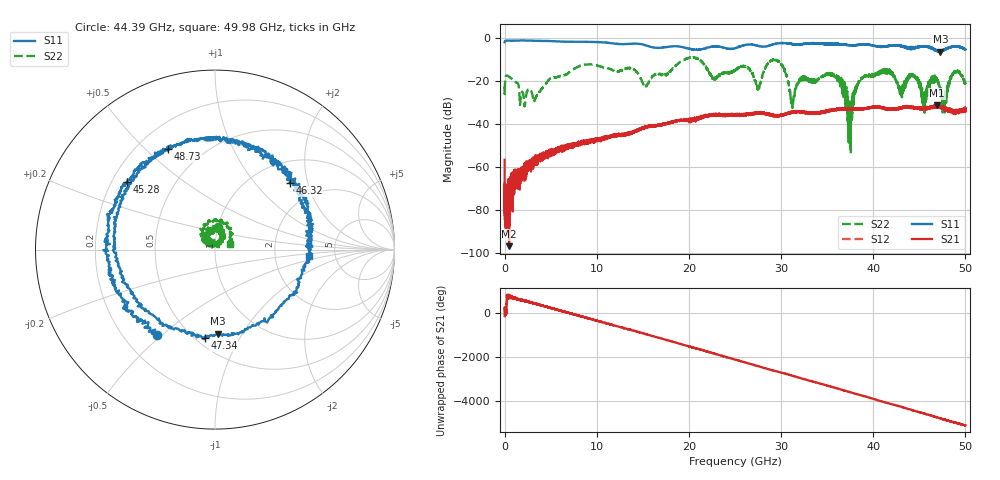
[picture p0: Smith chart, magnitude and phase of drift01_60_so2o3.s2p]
!Created with skrf (http://scikit-rf.org).
# Hz S RI R 50.0
!freq ReS11 ImS11 ReS21 ImS21 ReS12 ImS12 ReS22 ImS22
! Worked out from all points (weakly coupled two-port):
!   10001 points, 300 kHz to 50 GHz, reference 50 ohm
!   highest |S21| = -31.45 dB at 46.92 GHz (marker M1); lowest = -96.9 dB at 485.3 MHz (marker M2)
!   lowest |S11| = -6.6 dB at 47.28 GHz (marker M3), VSWR 2.77, Z = 32.8 - j39.4 ohm
!   |S11| at or under -10 dB: nowhere
!   |S22| runs from -53.9 to -9.2 dB; largest |S21 - S12| = 0.0034
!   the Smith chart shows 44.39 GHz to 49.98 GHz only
!   S11 on the Smith chart (normalised r, x): 44.39 GHz: 0.34, -0.48; 45.28 GHz: 0.26, +0.32; 46.32 GHz: 1.44, +1.54; 47.34 GHz: 0.55, -0.72; 48.73 GHz: 0.32, +0.59; 49.98 GHz: 3.19, -0.32
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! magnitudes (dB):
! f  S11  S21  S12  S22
! 300 kHz  -2.1  -56.8  -67.2  -22.7
! 485.3 MHz  -1.5  -96.9  -70.1  -18.2
! 3.29 GHz  -1.5  -58.9  -57.8  -28.8
! 8.335 GHz  -1.9  -49.0  -49.0  -12.9
! 16.67 GHz  -4.8  -40.7  -40.7  -16.7
! 25 GHz  -5.0  -36.1  -35.9  -15.4
! 29.58 GHz  -2.8  -36.7  -36.3  -10.7
! 31.23 GHz  -3.0  -34.8  -34.6  -31.7
! 33.34 GHz  -2.6  -35.0  -35.1  -20.5
! 36.12 GHz  -3.0  -33.4  -33.5  -18.8
! 37.47 GHz  -3.6  -33.1  -33.0  -30.9
! 38.65 GHz  -3.4  -33.3  -33.3  -19.4
! 41.67 GHz  -3.9  -33.1  -33.3  -16.3
! 44.39 GHz  -4.8  -32.4  -32.7  -17.8
! 45.28 GHz  -4.2  -32.5  -33.3  -23.9
! 46.32 GHz  -5.1  -32.3  -32.3  -19.1
! 46.92 GHz  -6.2  -31.4  -32.0  -20.4
! 47.28 GHz  -6.6  -32.2  -32.5  -24.1
! 47.34 GHz  -6.1  -31.9  -31.9  -24.8
! 48.73 GHz  -4.2  -34.2  -34.3  -16.8
! 49.98 GHz  -5.6  -34.0  -33.7  -21.3
! 50 GHz  -5.6  -34.3  -33.4  -21.4
